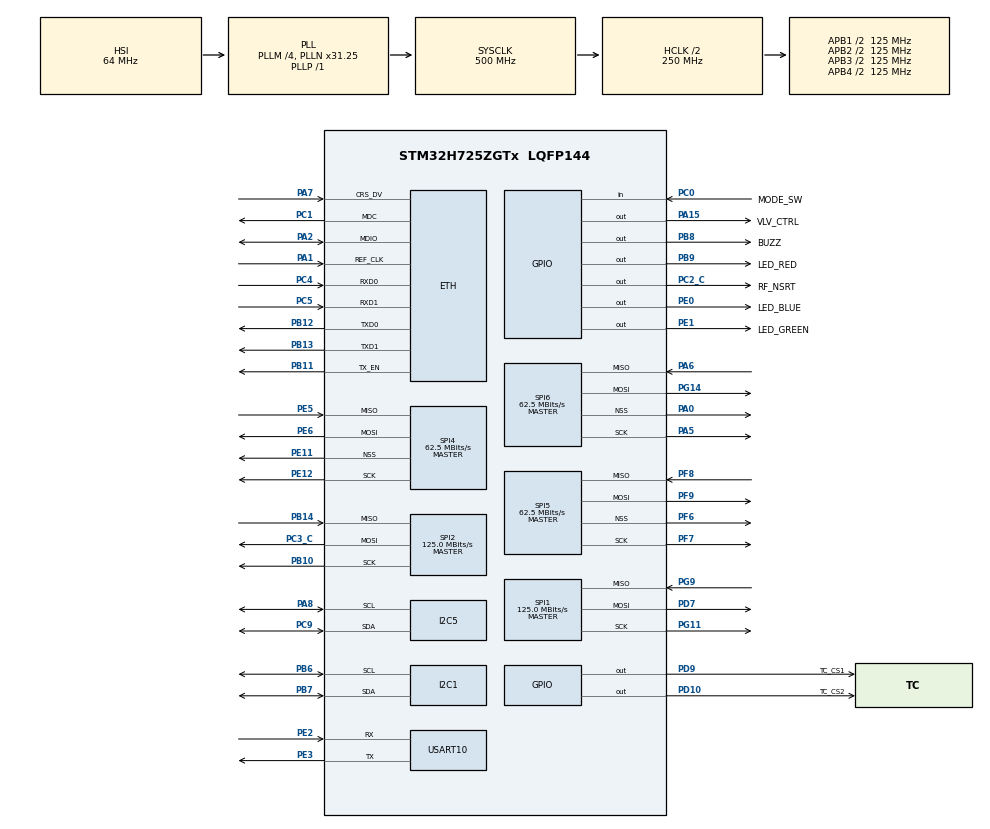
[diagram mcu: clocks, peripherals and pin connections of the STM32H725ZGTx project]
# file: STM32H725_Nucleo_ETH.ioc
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CORTEX_M7.AccessPermission_S-Cortex_Memory_Protection_Unit_Region1_Settings_S=MPU_REGION_FULL_ACCESS
CORTEX_M7.AccessPermission_S-Cortex_Memory_Protection_Unit_Region2_Settings_S=MPU_REGION_FULL_ACCESS
CORTEX_M7.BaseAddress_S-Cortex_Memory_Protection_Unit_Region1_Settings_S=0x30000000
CORTEX_M7.BaseAddress_S-Cortex_Memory_Protection_Unit_Region2_Settings_S=0x30000000
CORTEX_M7.CPU_DCache=Enabled
CORTEX_M7.CPU_ICache=Enabled
CORTEX_M7.DisableExec_S-Cortex_Memory_Protection_Unit_Region1_Settings_S=MPU_INSTRUCTION_ACCESS_DISABLE
CORTEX_M7.DisableExec_S-Cortex_Memory_Protection_Unit_Region2_Settings_S=MPU_INSTRUCTION_ACCESS_DISABLE
CORTEX_M7.Enable_S-Cortex_Memory_Protection_Unit_Region1_Settings_S=MPU_REGION_ENABLE
CORTEX_M7.Enable_S-Cortex_Memory_Protection_Unit_Region2_Settings_S=MPU_REGION_ENABLE
CORTEX_M7.IsBufferable_S-Cortex_Memory_Protection_Unit_Region2_Settings_S=MPU_ACCESS_BUFFERABLE
CORTEX_M7.IsShareable_S-Cortex_Memory_Protection_Unit_Region2_Settings_S=MPU_ACCESS_SHAREABLE
CORTEX_M7.Size_S-Cortex_Memory_Protection_Unit_Region1_Settings_S=MPU_REGION_SIZE_32KB
CORTEX_M7.Size_S-Cortex_Memory_Protection_Unit_Region2_Settings_S=MPU_REGION_SIZE_512B
CORTEX_M7.TypeExtField_S-Cortex_Memory_Protection_Unit_Region1_Settings_S=MPU_TEX_LEVEL1
CORTEX_M7.default_mode_Activation=1
ETH.MediaInterface=HAL_ETH_RMII_MODE
ETH.RxBuffAddress=0x30000200
ETH.RxBuffLen=1536
ETH.TxDescAddress=0x30000100
FREERTOS.Tasks01=tcpTask,1,1024,StartTCPTask,Default,NULL,Dynamic,NULL,NULL;HeartbeatTask,-1,1024,StartHeartbeatTask,Default,NULL,Dynamic,NULL,NULL;rxMessages,-3,1024,StartRXMessages,Default,NULL,Dynamic,NULL,NULL
FREERTOS.configCHECK_FOR_STACK_OVERFLOW=1
FREERTOS.configMAX_PRIORITIES=16
FREERTOS.configMINIMAL_STACK_SIZE=512
FREERTOS.configTOTAL_HEAP_SIZE=56400
FREERTOS.configUSE_COUNTING_SEMAPHORES=1
FREERTOS.configUSE_NEWLIB_REENTRANT=1
I2C1.Timing=0x20A0A3F6
I2C5.Timing=0x20A0A3F6
LWIP.BSP.number=1
LWIP.CMSIS_VERSION-Enabled=1
LWIP.DEFAULT_THREAD_STACKSIZE=2048
LWIP.IP_ADDRESS=192.168.050.010
LWIP.LWIP_DHCP=0
LWIP.LWIP_RAM_HEAP_POINTER=0x30000200
LWIP.MEM_SIZE=32232
LWIP.NETMASK_ADDRESS=255.255.255.000
LWIP.TCPIP_THREAD_STACKSIZE=2048
LWIP.TCP_MSS=1460
LWIP.TCP_SND_BUF=5840
LWIP.TCP_SND_QUEUELEN=16
LWIP.Version=v2.1.2_Cube
LWIP0.BSP.STBoard=false
LWIP0.BSP.api=BSP_COMPONENT_DRIVER
LWIP0.BSP.component=LAN8742
LWIP0.BSP.instance=LAN8742
LWIP0.BSP.name=Driver_PHY
LWIP0.BSP.semaphore=S_LAN8742
LWIP0.BSP.solution=LAN8742
Mcu.Family=STM32H7
Mcu.Name=STM32H725ZGTx
Mcu.Package=LQFP144
NVIC.ETH_IRQn=true\:5\:0\:false\:false\:true\:true\:true\:true\:true
NVIC.PriorityGroup=NVIC_PRIORITYGROUP_4
NVIC.TIM6_DAC_IRQn=true\:15\:0\:false\:false\:true\:false\:false\:true\:true
NVIC.TimeBase=TIM6_DAC_IRQn
NVIC.TimeBaseIP=TIM6
PA0.Mode=NSS_Signal_Hard_Output
PA0.Signal=SPI6_NSS
PA1.GPIO_Speed=GPIO_SPEED_FREQ_VERY_HIGH
PA1.Mode=RMII
PA1.Signal=ETH_REF_CLK
PA13(JTMS/SWDIO).Mode=Serial_Wire
PA13(JTMS/SWDIO).Signal=DEBUG_JTMS-SWDIO
PA14(JTCK/SWCLK).Mode=Serial_Wire
PA14(JTCK/SWCLK).Signal=DEBUG_JTCK-SWCLK
PA15(JTDI).GPIO_Label=VLV_CTRL
PA15(JTDI).Signal=GPIO_Output
PA2.GPIO_Speed=GPIO_SPEED_FREQ_VERY_HIGH
PA2.Mode=RMII
PA2.Signal=ETH_MDIO
PA5.Mode=Full_Duplex_Master
PA5.Signal=SPI6_SCK
PA6.Mode=Full_Duplex_Master
PA6.Signal=SPI6_MISO
PA7.GPIO_Speed=GPIO_SPEED_FREQ_VERY_HIGH
PA7.Mode=RMII
PA7.Signal=ETH_CRS_DV
PA8.Mode=I2C
PA8.Signal=I2C5_SCL
PB10.Mode=Full_Duplex_Master
PB10.Signal=SPI2_SCK
PB11.GPIO_Speed=GPIO_SPEED_FREQ_VERY_HIGH
PB11.Mode=RMII
PB11.Signal=ETH_TX_EN
PB12.GPIO_Speed=GPIO_SPEED_FREQ_VERY_HIGH
PB12.Mode=RMII
PB12.Signal=ETH_TXD0
PB13.GPIO_Speed=GPIO_SPEED_FREQ_VERY_HIGH
PB13.Mode=RMII
PB13.Signal=ETH_TXD1
PB14.Mode=Full_Duplex_Master
PB14.Signal=SPI2_MISO
PB6.Mode=I2C
PB6.Signal=I2C1_SCL
PB7.Mode=I2C
PB7.Signal=I2C1_SDA
PB8.GPIO_Label=BUZZ
PB8.Signal=GPIO_Output
PB9.GPIO_Label=LED_RED
PB9.Signal=GPIO_Output
PC0.GPIO_Label=MODE_SW
PC0.Signal=GPIO_Input
PC1.GPIO_Speed=GPIO_SPEED_FREQ_VERY_HIGH
PC1.Mode=RMII
PC1.Signal=ETH_MDC
PC2_C.GPIO_Label=RF_NSRT
PC2_C.Signal=GPIO_Output
PC3_C.Mode=Full_Duplex_Master
PC3_C.Signal=SPI2_MOSI
PC4.GPIO_Speed=GPIO_SPEED_FREQ_VERY_HIGH
PC4.Mode=RMII
PC4.Signal=ETH_RXD0
PC5.GPIO_Speed=GPIO_SPEED_FREQ_VERY_HIGH
PC5.Mode=RMII
PC5.Signal=ETH_RXD1
PC9.Mode=I2C
PC9.Signal=I2C5_SDA
PD10.GPIO_Label=TC_CS2
PD10.Signal=GPIO_Output
PD7.Mode=Full_Duplex_Master
PD7.Signal=SPI1_MOSI
PD9.GPIO_Label=TC_CS1
PD9.Signal=GPIO_Output
PE0.GPIO_Label=LED_BLUE
PE0.Signal=GPIO_Output
PE1.GPIO_Label=LED_GREEN
PE1.Signal=GPIO_Output
PE11.Mode=NSS_Signal_Hard_Output
PE11.Signal=SPI4_NSS
PE12.Mode=Full_Duplex_Master
PE12.Signal=SPI4_SCK
PE2.Mode=Asynchronous
PE2.Signal=USART10_RX
PE3.Mode=Asynchronous
PE3.Signal=USART10_TX
PE5.Mode=Full_Duplex_Master
PE5.Signal=SPI4_MISO
PE6.Mode=Full_Duplex_Master
PE6.Signal=SPI4_MOSI
PF6.Mode=NSS_Signal_Hard_Output
PF6.Signal=SPI5_NSS
PF7.Mode=Full_Duplex_Master
PF7.Signal=SPI5_SCK
PF8.Mode=Full_Duplex_Master
PF8.Signal=SPI5_MISO
PF9.Mode=Full_Duplex_Master
PF9.Signal=SPI5_MOSI
PG11.Mode=Full_Duplex_Master
PG11.Signal=SPI1_SCK
PG14.Mode=Full_Duplex_Master
PG14.Signal=SPI6_MOSI
PG9.Mode=Full_Duplex_Master
PG9.Signal=SPI1_MISO
ProjectManager.HeapSize=0x200
ProjectManager.StackSize=0x400
ProjectManager.TargetToolchain=STM32CubeIDE
RCC.ADCFreq_Value=608000000
RCC.APB1Freq_Value=125000000
RCC.APB2Freq_Value=125000000
RCC.APB3Freq_Value=125000000
RCC.APB4Freq_Value=125000000
RCC.CortexFreq_Value=500000000
RCC.D1PPRE=RCC_APB3_DIV2
RCC.D2PPRE1=RCC_APB1_DIV2
RCC.D2PPRE2=RCC_APB2_DIV2
RCC.D3PPRE=RCC_APB4_DIV2
RCC.DIVM1=4
RCC.DIVM2=1
RCC.DIVN1=31
RCC.DIVN2=19
RCC.DIVP1=1
RCC.HCLKFreq_Value=250000000
RCC.HPRE=RCC_HCLK_DIV2
RCC.HSE_VALUE=8000000
RCC.PLLFRACN=2048
RCC.SYSCLKFreq_VALUE=500000000
RCC.SYSCLKSource=RCC_SYSCLKSOURCE_PLLCLK
RCC.SupplySource=PWR_LDO_SUPPLY
RCC.USBCLockSelection=RCC_USBCLKSOURCE_HSI48
RCC.USBFreq_Value=48000000
SPI1.CalculateBaudRate=125.0 MBits/s
SPI1.Direction=SPI_DIRECTION_2LINES
SPI1.Mode=SPI_MODE_MASTER
SPI1.VirtualType=VM_MASTER
SPI2.CalculateBaudRate=125.0 MBits/s
SPI2.Direction=SPI_DIRECTION_2LINES
SPI2.Mode=SPI_MODE_MASTER
SPI2.VirtualType=VM_MASTER
SPI4.CalculateBaudRate=62.5 MBits/s
SPI4.DataSize=SPI_DATASIZE_8BIT
SPI4.Direction=SPI_DIRECTION_2LINES
SPI4.Mode=SPI_MODE_MASTER
SPI4.VirtualNSS=VM_NSSHARD
SPI4.VirtualType=VM_MASTER
SPI5.CalculateBaudRate=62.5 MBits/s
SPI5.Direction=SPI_DIRECTION_2LINES
SPI5.Mode=SPI_MODE_MASTER
SPI5.VirtualNSS=VM_NSSHARD
SPI5.VirtualType=VM_MASTER
SPI6.CalculateBaudRate=62.5 MBits/s
SPI6.Direction=SPI_DIRECTION_2LINES
SPI6.Mode=SPI_MODE_MASTER
SPI6.VirtualNSS=VM_NSSHARD
SPI6.VirtualType=VM_MASTER
USART10.VirtualMode-Asynchronous=VM_ASYNC
VP_FREERTOS_VS_CMSIS_V1.Mode=CMSIS_V1
VP_LWIP_VS_Enabled.Mode=Enabled
VP_MEMORYMAP_VS_MEMORYMAP.Mode=CurAppReg
VP_RTC_VS_RTC_Activate.Mode=RTC_Enabled
VP_SYS_VS_tim6.Mode=TIM6
board=custom

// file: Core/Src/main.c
/* USER CODE BEGIN Header */
/**
  ******************************************************************************
  * @file           : main.c
  * @brief          : Main program body
  ******************************************************************************
  * @attention
  *
  * Copyright (c) 2022 STMicroelectronics.
  * All rights reserved.
  *
  * This software is licensed under terms that can be found in the LICENSE file
  * in the root directory of this software component.
  * If no LICENSE file comes with this software, it is provided AS-IS.
  *
  ******************************************************************************
  */
/* USER CODE END Header */
#include "main.h"
#include "cmsis_os.h"
#include "lwip.h"

/* USER CODE BEGIN Includes */
/* ETH_CODE: add lwiperf, see comment in StartDefaultTask function */
#include "lwip/apps/lwiperf.h"
//#include "tcpserver.h"
//#include "tsqueue.h"
//#include "tcppacket.h"
/* USER CODE END Includes */

I2C_HandleTypeDef hi2c1;
I2C_HandleTypeDef hi2c5;

RTC_HandleTypeDef hrtc;

SPI_HandleTypeDef hspi1;
SPI_HandleTypeDef hspi2;
SPI_HandleTypeDef hspi4;
SPI_HandleTypeDef hspi5;
SPI_HandleTypeDef hspi6;

UART_HandleTypeDef huart10;

osThreadId tcpTaskHandle;

void SystemClock_Config(void);
static void MPU_Config(void);
static void MX_GPIO_Init(void);
static void MX_I2C1_Init(void);
static void MX_I2C5_Init(void);
static void MX_SPI1_Init(void);
static void MX_SPI2_Init(void);
static void MX_SPI4_Init(void);
static void MX_SPI5_Init(void);
static void MX_SPI6_Init(void);
static void MX_USART10_UART_Init(void);
static void MX_RTC_Init(void);
void StartTCPTask(void const * argument);

int main(void)
{

  /* MPU Configuration--------------------------------------------------------*/
  MPU_Config();

  /* Enable the CPU Cache */

  /* Enable I-Cache---------------------------------------------------------*/
  SCB_EnableICache();

  /* Enable D-Cache---------------------------------------------------------*/
  SCB_EnableDCache();

  /* MCU Configuration--------------------------------------------------------*/

  /* Reset of all peripherals, Initializes the Flash interface and the Systick. */
  HAL_Init();

  /* Configure the system clock */
  SystemClock_Config();

  /* Initialize all configured peripherals */
  MX_GPIO_Init();
  MX_I2C1_Init();
  MX_I2C5_Init();
  MX_SPI1_Init();
  MX_SPI2_Init();
  MX_SPI4_Init();
  MX_SPI5_Init();
  MX_SPI6_Init();
  MX_USART10_UART_Init();
  MX_RTC_Init();

  /* Create the thread(s) */
  /* definition and creation of tcpTask */
  osThreadDef(tcpTask, StartTCPTask, osPriorityAboveNormal, 0, 1024);
  tcpTaskHandle = osThreadCreate(osThread(tcpTask), NULL);

  /* Start scheduler */
  osKernelStart();

  /* We should never get here as control is now taken by the scheduler */

  /* Infinite loop */
  while (1)
  {

  }
}

void SystemClock_Config(void)
{
  RCC_OscInitTypeDef RCC_OscInitStruct = {0};
  RCC_ClkInitTypeDef RCC_ClkInitStruct = {0};

  /** Supply configuration update enable
  */
  HAL_PWREx_ConfigSupply(PWR_LDO_SUPPLY);

  /** Configure the main internal regulator output voltage
  */
  __HAL_PWR_VOLTAGESCALING_CONFIG(PWR_REGULATOR_VOLTAGE_SCALE0);

  while(!__HAL_PWR_GET_FLAG(PWR_FLAG_VOSRDY)) {}

  /** Initializes the RCC Oscillators according to the specified parameters
  * in the RCC_OscInitTypeDef structure.
  */
  RCC_OscInitStruct.OscillatorType = RCC_OSCILLATORTYPE_HSI|RCC_OSCILLATORTYPE_LSI;
  RCC_OscInitStruct.HSIState = RCC_HSI_DIV1;
  RCC_OscInitStruct.HSICalibrationValue = 64;
  RCC_OscInitStruct.LSIState = RCC_LSI_ON;
  RCC_OscInitStruct.PLL.PLLState = RCC_PLL_ON;
  RCC_OscInitStruct.PLL.PLLSource = RCC_PLLSOURCE_HSI;
  RCC_OscInitStruct.PLL.PLLM = 4;
  RCC_OscInitStruct.PLL.PLLN = 31;
  RCC_OscInitStruct.PLL.PLLP = 1;
  RCC_OscInitStruct.PLL.PLLQ = 2;
  RCC_OscInitStruct.PLL.PLLR = 2;
  RCC_OscInitStruct.PLL.PLLRGE = RCC_PLL1VCIRANGE_3;
  RCC_OscInitStruct.PLL.PLLVCOSEL = RCC_PLL1VCOWIDE;
  RCC_OscInitStruct.PLL.PLLFRACN = 2048;
  if (HAL_RCC_OscConfig(&RCC_OscInitStruct) != HAL_OK)
  {
    Error_Handler();
  }

  /** Initializes the CPU, AHB and APB buses clocks
  */
  RCC_ClkInitStruct.ClockType = RCC_CLOCKTYPE_HCLK|RCC_CLOCKTYPE_SYSCLK
                              |RCC_CLOCKTYPE_PCLK1|RCC_CLOCKTYPE_PCLK2
                              |RCC_CLOCKTYPE_D3PCLK1|RCC_CLOCKTYPE_D1PCLK1;
  RCC_ClkInitStruct.SYSCLKSource = RCC_SYSCLKSOURCE_PLLCLK;
  RCC_ClkInitStruct.SYSCLKDivider = RCC_SYSCLK_DIV1;
  RCC_ClkInitStruct.AHBCLKDivider = RCC_HCLK_DIV2;
  RCC_ClkInitStruct.APB3CLKDivider = RCC_APB3_DIV2;
  RCC_ClkInitStruct.APB1CLKDivider = RCC_APB1_DIV2;
  RCC_ClkInitStruct.APB2CLKDivider = RCC_APB2_DIV2;
  RCC_ClkInitStruct.APB4CLKDivider = RCC_APB4_DIV2;

  if (HAL_RCC_ClockConfig(&RCC_ClkInitStruct, FLASH_LATENCY_3) != HAL_OK)
  {
    Error_Handler();
  }
}

static void MX_I2C1_Init(void)
{

  hi2c1.Instance = I2C1;
  hi2c1.Init.Timing = 0x20A0A3F6;
  hi2c1.Init.OwnAddress1 = 0;
  hi2c1.Init.AddressingMode = I2C_ADDRESSINGMODE_7BIT;
  hi2c1.Init.DualAddressMode = I2C_DUALADDRESS_DISABLE;
  hi2c1.Init.OwnAddress2 = 0;
  hi2c1.Init.OwnAddress2Masks = I2C_OA2_NOMASK;
  hi2c1.Init.GeneralCallMode = I2C_GENERALCALL_DISABLE;
  hi2c1.Init.NoStretchMode = I2C_NOSTRETCH_DISABLE;
  if (HAL_I2C_Init(&hi2c1) != HAL_OK)
  {
    Error_Handler();
  }

  /** Configure Analogue filter
  */
  if (HAL_I2CEx_ConfigAnalogFilter(&hi2c1, I2C_ANALOGFILTER_ENABLE) != HAL_OK)
  {
    Error_Handler();
  }

  /** Configure Digital filter
  */
  if (HAL_I2CEx_ConfigDigitalFilter(&hi2c1, 0) != HAL_OK)
  {
    Error_Handler();
  }

}

static void MX_I2C5_Init(void)
{

  hi2c5.Instance = I2C5;
  hi2c5.Init.Timing = 0x20A0A3F6;
  hi2c5.Init.OwnAddress1 = 0;
  hi2c5.Init.AddressingMode = I2C_ADDRESSINGMODE_7BIT;
  hi2c5.Init.DualAddressMode = I2C_DUALADDRESS_DISABLE;
  hi2c5.Init.OwnAddress2 = 0;
  hi2c5.Init.OwnAddress2Masks = I2C_OA2_NOMASK;
  hi2c5.Init.GeneralCallMode = I2C_GENERALCALL_DISABLE;
  hi2c5.Init.NoStretchMode = I2C_NOSTRETCH_DISABLE;
  if (HAL_I2C_Init(&hi2c5) != HAL_OK)
  {
    Error_Handler();
  }

  /** Configure Analogue filter
  */
  if (HAL_I2CEx_ConfigAnalogFilter(&hi2c5, I2C_ANALOGFILTER_ENABLE) != HAL_OK)
  {
    Error_Handler();
  }

  /** Configure Digital filter
  */
  if (HAL_I2CEx_ConfigDigitalFilter(&hi2c5, 0) != HAL_OK)
  {
    Error_Handler();
  }

}

static void MX_RTC_Init(void)
{

  /** Initialize RTC Only
  */
  hrtc.Instance = RTC;
  hrtc.Init.HourFormat = RTC_HOURFORMAT_24;
  hrtc.Init.AsynchPrediv = 127;
  hrtc.Init.SynchPrediv = 255;
  hrtc.Init.OutPut = RTC_OUTPUT_DISABLE;
  hrtc.Init.OutPutPolarity = RTC_OUTPUT_POLARITY_HIGH;
  hrtc.Init.OutPutType = RTC_OUTPUT_TYPE_OPENDRAIN;
  hrtc.Init.OutPutRemap = RTC_OUTPUT_REMAP_NONE;
  if (HAL_RTC_Init(&hrtc) != HAL_OK)
  {
    Error_Handler();
  }

}

static void MX_SPI1_Init(void)
{

  /* SPI1 parameter configuration*/
  hspi1.Instance = SPI1;
  hspi1.Init.Mode = SPI_MODE_MASTER;
  hspi1.Init.Direction = SPI_DIRECTION_2LINES;
  hspi1.Init.DataSize = SPI_DATASIZE_4BIT;
  hspi1.Init.CLKPolarity = SPI_POLARITY_LOW;
  hspi1.Init.CLKPhase = SPI_PHASE_1EDGE;
  hspi1.Init.NSS = SPI_NSS_SOFT;
  hspi1.Init.BaudRatePrescaler = SPI_BAUDRATEPRESCALER_2;
  hspi1.Init.FirstBit = SPI_FIRSTBIT_MSB;
  hspi1.Init.TIMode = SPI_TIMODE_DISABLE;
  hspi1.Init.CRCCalculation = SPI_CRCCALCULATION_DISABLE;
  hspi1.Init.CRCPolynomial = 0x0;
  hspi1.Init.NSSPMode = SPI_NSS_PULSE_ENABLE;
  hspi1.Init.NSSPolarity = SPI_NSS_POLARITY_LOW;
  hspi1.Init.FifoThreshold = SPI_FIFO_THRESHOLD_01DATA;
  hspi1.Init.TxCRCInitializationPattern = SPI_CRC_INITIALIZATION_ALL_ZERO_PATTERN;
  hspi1.Init.RxCRCInitializationPattern = SPI_CRC_INITIALIZATION_ALL_ZERO_PATTERN;
  hspi1.Init.MasterSSIdleness = SPI_MASTER_SS_IDLENESS_00CYCLE;
  hspi1.Init.MasterInterDataIdleness = SPI_MASTER_INTERDATA_IDLENESS_00CYCLE;
  hspi1.Init.MasterReceiverAutoSusp = SPI_MASTER_RX_AUTOSUSP_DISABLE;
  hspi1.Init.MasterKeepIOState = SPI_MASTER_KEEP_IO_STATE_DISABLE;
  hspi1.Init.IOSwap = SPI_IO_SWAP_DISABLE;
  if (HAL_SPI_Init(&hspi1) != HAL_OK)
  {
    Error_Handler();
  }

}

static void MX_SPI2_Init(void)
{

  /* SPI2 parameter configuration*/
  hspi2.Instance = SPI2;
  hspi2.Init.Mode = SPI_MODE_MASTER;
  hspi2.Init.Direction = SPI_DIRECTION_2LINES;
  hspi2.Init.DataSize = SPI_DATASIZE_4BIT;
  hspi2.Init.CLKPolarity = SPI_POLARITY_LOW;
  hspi2.Init.CLKPhase = SPI_PHASE_1EDGE;
  hspi2.Init.NSS = SPI_NSS_SOFT;
  hspi2.Init.BaudRatePrescaler = SPI_BAUDRATEPRESCALER_2;
  hspi2.Init.FirstBit = SPI_FIRSTBIT_MSB;
  hspi2.Init.TIMode = SPI_TIMODE_DISABLE;
  hspi2.Init.CRCCalculation = SPI_CRCCALCULATION_DISABLE;
  hspi2.Init.CRCPolynomial = 0x0;
  hspi2.Init.NSSPMode = SPI_NSS_PULSE_ENABLE;
  hspi2.Init.NSSPolarity = SPI_NSS_POLARITY_LOW;
  hspi2.Init.FifoThreshold = SPI_FIFO_THRESHOLD_01DATA;
  hspi2.Init.TxCRCInitializationPattern = SPI_CRC_INITIALIZATION_ALL_ZERO_PATTERN;
  hspi2.Init.RxCRCInitializationPattern = SPI_CRC_INITIALIZATION_ALL_ZERO_PATTERN;
  hspi2.Init.MasterSSIdleness = SPI_MASTER_SS_IDLENESS_00CYCLE;
  hspi2.Init.MasterInterDataIdleness = SPI_MASTER_INTERDATA_IDLENESS_00CYCLE;
  hspi2.Init.MasterReceiverAutoSusp = SPI_MASTER_RX_AUTOSUSP_DISABLE;
  hspi2.Init.MasterKeepIOState = SPI_MASTER_KEEP_IO_STATE_DISABLE;
  hspi2.Init.IOSwap = SPI_IO_SWAP_DISABLE;
  if (HAL_SPI_Init(&hspi2) != HAL_OK)
  {
    Error_Handler();
  }

}

static void MX_SPI4_Init(void)
{

  /* SPI4 parameter configuration*/
  hspi4.Instance = SPI4;
  hspi4.Init.Mode = SPI_MODE_MASTER;
  hspi4.Init.Direction = SPI_DIRECTION_2LINES;
  hspi4.Init.DataSize = SPI_DATASIZE_8BIT;
  hspi4.Init.CLKPolarity = SPI_POLARITY_LOW;
  hspi4.Init.CLKPhase = SPI_PHASE_1EDGE;
  hspi4.Init.NSS = SPI_NSS_HARD_OUTPUT;
  hspi4.Init.BaudRatePrescaler = SPI_BAUDRATEPRESCALER_2;
  hspi4.Init.FirstBit = SPI_FIRSTBIT_MSB;
  hspi4.Init.TIMode = SPI_TIMODE_DISABLE;
  hspi4.Init.CRCCalculation = SPI_CRCCALCULATION_DISABLE;
  hspi4.Init.CRCPolynomial = 0x0;
  hspi4.Init.NSSPMode = SPI_NSS_PULSE_ENABLE;
  hspi4.Init.NSSPolarity = SPI_NSS_POLARITY_LOW;
  hspi4.Init.FifoThreshold = SPI_FIFO_THRESHOLD_01DATA;
  hspi4.Init.TxCRCInitializationPattern = SPI_CRC_INITIALIZATION_ALL_ZERO_PATTERN;
  hspi4.Init.RxCRCInitializationPattern = SPI_CRC_INITIALIZATION_ALL_ZERO_PATTERN;
  hspi4.Init.MasterSSIdleness = SPI_MASTER_SS_IDLENESS_00CYCLE;
  hspi4.Init.MasterInterDataIdleness = SPI_MASTER_INTERDATA_IDLENESS_00CYCLE;
  hspi4.Init.MasterReceiverAutoSusp = SPI_MASTER_RX_AUTOSUSP_DISABLE;
  hspi4.Init.MasterKeepIOState = SPI_MASTER_KEEP_IO_STATE_DISABLE;
  hspi4.Init.IOSwap = SPI_IO_SWAP_DISABLE;
  if (HAL_SPI_Init(&hspi4) != HAL_OK)
  {
    Error_Handler();
  }

}

static void MX_SPI5_Init(void)
{

  /* SPI5 parameter configuration*/
  hspi5.Instance = SPI5;
  hspi5.Init.Mode = SPI_MODE_MASTER;
  hspi5.Init.Direction = SPI_DIRECTION_2LINES;
  hspi5.Init.DataSize = SPI_DATASIZE_4BIT;
  hspi5.Init.CLKPolarity = SPI_POLARITY_LOW;
  hspi5.Init.CLKPhase = SPI_PHASE_1EDGE;
  hspi5.Init.NSS = SPI_NSS_HARD_OUTPUT;
  hspi5.Init.BaudRatePrescaler = SPI_BAUDRATEPRESCALER_2;
  hspi5.Init.FirstBit = SPI_FIRSTBIT_MSB;
  hspi5.Init.TIMode = SPI_TIMODE_DISABLE;
  hspi5.Init.CRCCalculation = SPI_CRCCALCULATION_DISABLE;
  hspi5.Init.CRCPolynomial = 0x0;
  hspi5.Init.NSSPMode = SPI_NSS_PULSE_ENABLE;
  hspi5.Init.NSSPolarity = SPI_NSS_POLARITY_LOW;
  hspi5.Init.FifoThreshold = SPI_FIFO_THRESHOLD_01DATA;
  hspi5.Init.TxCRCInitializationPattern = SPI_CRC_INITIALIZATION_ALL_ZERO_PATTERN;
  hspi5.Init.RxCRCInitializationPattern = SPI_CRC_INITIALIZATION_ALL_ZERO_PATTERN;
  hspi5.Init.MasterSSIdleness = SPI_MASTER_SS_IDLENESS_00CYCLE;
  hspi5.Init.MasterInterDataIdleness = SPI_MASTER_INTERDATA_IDLENESS_00CYCLE;
  hspi5.Init.MasterReceiverAutoSusp = SPI_MASTER_RX_AUTOSUSP_DISABLE;
  hspi5.Init.MasterKeepIOState = SPI_MASTER_KEEP_IO_STATE_DISABLE;
  hspi5.Init.IOSwap = SPI_IO_SWAP_DISABLE;
  if (HAL_SPI_Init(&hspi5) != HAL_OK)
  {
    Error_Handler();
  }

}

static void MX_SPI6_Init(void)
{

  /* SPI6 parameter configuration*/
  hspi6.Instance = SPI6;
  hspi6.Init.Mode = SPI_MODE_MASTER;
  hspi6.Init.Direction = SPI_DIRECTION_2LINES;
  hspi6.Init.DataSize = SPI_DATASIZE_4BIT;
  hspi6.Init.CLKPolarity = SPI_POLARITY_LOW;
  hspi6.Init.CLKPhase = SPI_PHASE_1EDGE;
  hspi6.Init.NSS = SPI_NSS_HARD_OUTPUT;
  hspi6.Init.BaudRatePrescaler = SPI_BAUDRATEPRESCALER_2;
  hspi6.Init.FirstBit = SPI_FIRSTBIT_MSB;
  hspi6.Init.TIMode = SPI_TIMODE_DISABLE;
  hspi6.Init.CRCCalculation = SPI_CRCCALCULATION_DISABLE;
  hspi6.Init.CRCPolynomial = 0x0;
  hspi6.Init.NSSPMode = SPI_NSS_PULSE_ENABLE;
  hspi6.Init.NSSPolarity = SPI_NSS_POLARITY_LOW;
  hspi6.Init.FifoThreshold = SPI_FIFO_THRESHOLD_01DATA;
  hspi6.Init.TxCRCInitializationPattern = SPI_CRC_INITIALIZATION_ALL_ZERO_PATTERN;
  hspi6.Init.RxCRCInitializationPattern = SPI_CRC_INITIALIZATION_ALL_ZERO_PATTERN;
  hspi6.Init.MasterSSIdleness = SPI_MASTER_SS_IDLENESS_00CYCLE;
  hspi6.Init.MasterInterDataIdleness = SPI_MASTER_INTERDATA_IDLENESS_00CYCLE;
  hspi6.Init.MasterReceiverAutoSusp = SPI_MASTER_RX_AUTOSUSP_DISABLE;
  hspi6.Init.MasterKeepIOState = SPI_MASTER_KEEP_IO_STATE_DISABLE;
  hspi6.Init.IOSwap = SPI_IO_SWAP_DISABLE;
  if (HAL_SPI_Init(&hspi6) != HAL_OK)
  {
    Error_Handler();
  }

}

static void MX_USART10_UART_Init(void)
{

  huart10.Instance = USART10;
  huart10.Init.BaudRate = 115200;
  huart10.Init.WordLength = UART_WORDLENGTH_8B;
  huart10.Init.StopBits = UART_STOPBITS_1;
  huart10.Init.Parity = UART_PARITY_NONE;
  huart10.Init.Mode = UART_MODE_TX_RX;
  huart10.Init.HwFlowCtl = UART_HWCONTROL_NONE;
  huart10.Init.OverSampling = UART_OVERSAMPLING_16;
  huart10.Init.OneBitSampling = UART_ONE_BIT_SAMPLE_DISABLE;
  huart10.Init.ClockPrescaler = UART_PRESCALER_DIV1;
  huart10.AdvancedInit.AdvFeatureInit = UART_ADVFEATURE_NO_INIT;
  if (HAL_UART_Init(&huart10) != HAL_OK)
  {
    Error_Handler();
  }
  if (HAL_UARTEx_SetTxFifoThreshold(&huart10, UART_TXFIFO_THRESHOLD_1_8) != HAL_OK)
  {
    Error_Handler();
  }
  if (HAL_UARTEx_SetRxFifoThreshold(&huart10, UART_RXFIFO_THRESHOLD_1_8) != HAL_OK)
  {
    Error_Handler();
  }
  if (HAL_UARTEx_DisableFifoMode(&huart10) != HAL_OK)
  {
    Error_Handler();
  }

}

static void MX_GPIO_Init(void)
{
  GPIO_InitTypeDef GPIO_InitStruct = {0};

  /* GPIO Ports Clock Enable */
  __HAL_RCC_GPIOE_CLK_ENABLE();
  __HAL_RCC_GPIOF_CLK_ENABLE();
  __HAL_RCC_GPIOC_CLK_ENABLE();
  __HAL_RCC_GPIOA_CLK_ENABLE();
  __HAL_RCC_GPIOB_CLK_ENABLE();
  __HAL_RCC_GPIOD_CLK_ENABLE();
  __HAL_RCC_GPIOG_CLK_ENABLE();

  /*Configure GPIO pin Output Level */
  HAL_GPIO_WritePin(RF_NSRT_GPIO_Port, RF_NSRT_Pin, GPIO_PIN_RESET);

  /*Configure GPIO pin Output Level */
  HAL_GPIO_WritePin(GPIOD, TC_CS1_Pin|TC_CS2_Pin, GPIO_PIN_RESET);

  /*Configure GPIO pin Output Level */
  HAL_GPIO_WritePin(VLV_CTRL_GPIO_Port, VLV_CTRL_Pin, GPIO_PIN_RESET);

  /*Configure GPIO pin Output Level */
  HAL_GPIO_WritePin(GPIOB, BUZZ_Pin|LED_RED_Pin, GPIO_PIN_RESET);

  /*Configure GPIO pin Output Level */
  HAL_GPIO_WritePin(GPIOE, LED_BLUE_Pin|LED_GREEN_Pin, GPIO_PIN_RESET);

  /*Configure GPIO pin : MODE_SW_Pin */
  GPIO_InitStruct.Pin = MODE_SW_Pin;
  GPIO_InitStruct.Mode = GPIO_MODE_INPUT;
  GPIO_InitStruct.Pull = GPIO_NOPULL;
  HAL_GPIO_Init(MODE_SW_GPIO_Port, &GPIO_InitStruct);

  /*Configure GPIO pin : RF_NSRT_Pin */
  GPIO_InitStruct.Pin = RF_NSRT_Pin;
  GPIO_InitStruct.Mode = GPIO_MODE_OUTPUT_PP;
  GPIO_InitStruct.Pull = GPIO_NOPULL;
  GPIO_InitStruct.Speed = GPIO_SPEED_FREQ_LOW;
  HAL_GPIO_Init(RF_NSRT_GPIO_Port, &GPIO_InitStruct);

  /*Configure GPIO pins : TC_CS1_Pin TC_CS2_Pin */
  GPIO_InitStruct.Pin = TC_CS1_Pin|TC_CS2_Pin;
  GPIO_InitStruct.Mode = GPIO_MODE_OUTPUT_PP;
  GPIO_InitStruct.Pull = GPIO_NOPULL;
  GPIO_InitStruct.Speed = GPIO_SPEED_FREQ_LOW;
  HAL_GPIO_Init(GPIOD, &GPIO_InitStruct);

  /*Configure GPIO pin : VLV_CTRL_Pin */
  GPIO_InitStruct.Pin = VLV_CTRL_Pin;
  GPIO_InitStruct.Mode = GPIO_MODE_OUTPUT_PP;
  GPIO_InitStruct.Pull = GPIO_NOPULL;
  GPIO_InitStruct.Speed = GPIO_SPEED_FREQ_LOW;
  HAL_GPIO_Init(VLV_CTRL_GPIO_Port, &GPIO_InitStruct);

  /*Configure GPIO pins : BUZZ_Pin LED_RED_Pin */
  GPIO_InitStruct.Pin = BUZZ_Pin|LED_RED_Pin;
  GPIO_InitStruct.Mode = GPIO_MODE_OUTPUT_PP;
  GPIO_InitStruct.Pull = GPIO_NOPULL;
  GPIO_InitStruct.Speed = GPIO_SPEED_FREQ_LOW;
  HAL_GPIO_Init(GPIOB, &GPIO_InitStruct);

  /*Configure GPIO pins : LED_BLUE_Pin LED_GREEN_Pin */
  GPIO_InitStruct.Pin = LED_BLUE_Pin|LED_GREEN_Pin;
  GPIO_InitStruct.Mode = GPIO_MODE_OUTPUT_PP;
  GPIO_InitStruct.Pull = GPIO_NOPULL;
  GPIO_InitStruct.Speed = GPIO_SPEED_FREQ_LOW;
  HAL_GPIO_Init(GPIOE, &GPIO_InitStruct);

}

/* USER CODE BEGIN 4 */
void fsm_transition(int transition) {
	// use your imagination
};

void sw_reset(void) {

};

void set_bootloader(void) {

};

void get_git_hash(void) {

};

void valve_control(uint32_t valve, uint32_t state) {
	HAL_GPIO_TogglePin(LED_GREEN_GPIO_Port, LED_GREEN_Pin);
	// doing this for debug
};

void config_calibration(uint64_t* calibration_data) {

};
/* USER CODE END 4 */

void StartTCPTask(void const * argument)
{
  /* init code for LWIP */
  MX_LWIP_Init();
  /* USER CODE BEGIN 5 */
  LOCK_TCPIP_CORE();
  lwiperf_start_tcp_server_default(NULL, NULL);

  //ip4_addr_t remote_addr;
  //IP4_ADDR(&remote_addr, 192, 168, 50, 20);
  //lwiperf_start_tcp_client_default(&remote_addr, NULL, NULL);
  UNLOCK_TCPIP_CORE();
  /* Infinite loop */
  for(;;)
  {
    osDelay(1000);
  }

  /* USER CODE END 5 */
}

 /* MPU Configuration */

void MPU_Config(void)
{
  MPU_Region_InitTypeDef MPU_InitStruct = {0};

  /* Disables the MPU */
  HAL_MPU_Disable();

  /** Initializes and configures the Region and the memory to be protected
  */
  MPU_InitStruct.Enable = MPU_REGION_ENABLE;
  MPU_InitStruct.Number = MPU_REGION_NUMBER0;
  MPU_InitStruct.BaseAddress = 0x0;
  MPU_InitStruct.Size = MPU_REGION_SIZE_4GB;
  MPU_InitStruct.SubRegionDisable = 0x87;
  MPU_InitStruct.TypeExtField = MPU_TEX_LEVEL0;
  MPU_InitStruct.AccessPermission = MPU_REGION_NO_ACCESS;
  MPU_InitStruct.DisableExec = MPU_INSTRUCTION_ACCESS_DISABLE;
  MPU_InitStruct.IsShareable = MPU_ACCESS_SHAREABLE;
  MPU_InitStruct.IsCacheable = MPU_ACCESS_NOT_CACHEABLE;
  MPU_InitStruct.IsBufferable = MPU_ACCESS_NOT_BUFFERABLE;

  HAL_MPU_ConfigRegion(&MPU_InitStruct);

  /** Initializes and configures the Region and the memory to be protected
  */
  MPU_InitStruct.Number = MPU_REGION_NUMBER1;
  MPU_InitStruct.BaseAddress = 0x30000000;
  MPU_InitStruct.Size = MPU_REGION_SIZE_32KB;
  MPU_InitStruct.SubRegionDisable = 0x0;
  MPU_InitStruct.TypeExtField = MPU_TEX_LEVEL1;
  MPU_InitStruct.AccessPermission = MPU_REGION_FULL_ACCESS;
  MPU_InitStruct.IsShareable = MPU_ACCESS_NOT_SHAREABLE;

  HAL_MPU_ConfigRegion(&MPU_InitStruct);

  /** Initializes and configures the Region and the memory to be protected
  */
  MPU_InitStruct.Number = MPU_REGION_NUMBER2;
  MPU_InitStruct.Size = MPU_REGION_SIZE_512B;
  MPU_InitStruct.TypeExtField = MPU_TEX_LEVEL0;
  MPU_InitStruct.IsShareable = MPU_ACCESS_SHAREABLE;
  MPU_InitStruct.IsBufferable = MPU_ACCESS_BUFFERABLE;

  HAL_MPU_ConfigRegion(&MPU_InitStruct);
  /* Enables the MPU */
  HAL_MPU_Enable(MPU_PRIVILEGED_DEFAULT);

}

void HAL_TIM_PeriodElapsedCallback(TIM_HandleTypeDef *htim)
{
  if (htim->Instance == TIM6) {
    HAL_IncTick();
  }
}

void Error_Handler(void)
{
  __disable_irq();
  while (1)
  {
  }
}
